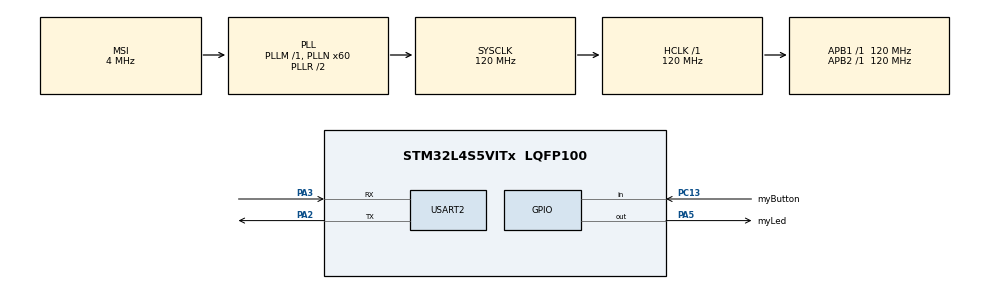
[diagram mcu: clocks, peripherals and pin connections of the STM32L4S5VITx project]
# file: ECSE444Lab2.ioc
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ADC1.Channel-0\#ChannelRegularConversion=ADC_CHANNEL_TEMPSENSOR
ADC1.NbrOfConversionFlag=1
ADC1.OffsetNumber-0\#ChannelRegularConversion=ADC_OFFSET_NONE
ADC1.Rank-0\#ChannelRegularConversion=1
ADC1.SamplingTime-0\#ChannelRegularConversion=ADC_SAMPLETIME_247CYCLES_5
ADC1.master=1
Mcu.Family=STM32L4
Mcu.Name=STM32L4S5VITx
Mcu.Package=LQFP100
NVIC.PriorityGroup=NVIC_PRIORITYGROUP_4
PA2.Mode=Asynchronous
PA2.Signal=USART2_TX
PA3.Mode=Asynchronous
PA3.Signal=USART2_RX
PA5.GPIO_Label=myLed
PA5.Signal=GPIO_Output
PC13.GPIO_Label=myButton
PC13.GPIO_PuPd=GPIO_PULLUP
PC13.Signal=GPIO_Input
ProjectManager.HeapSize=0x200
ProjectManager.StackSize=0x400
ProjectManager.TargetToolchain=STM32CubeIDE
RCC.ADCFreq_Value=48000000
RCC.AHBFreq_Value=120000000
RCC.APB1Freq_Value=120000000
RCC.APB1TimFreq_Value=120000000
RCC.APB2Freq_Value=120000000
RCC.APB2TimFreq_Value=120000000
RCC.CortexFreq_Value=120000000
RCC.HCLKFreq_Value=120000000
RCC.HSE_VALUE=8000000
RCC.HSI48_VALUE=48000000
RCC.HSI_VALUE=16000000
RCC.LSE_VALUE=32768
RCC.MSI_VALUE=4000000
RCC.PLLN=60
RCC.PLLSAI1N=24
RCC.SYSCLKFreq_VALUE=120000000
RCC.SYSCLKSource=RCC_SYSCLKSOURCE_PLLCLK
RCC.USBFreq_Value=48000000
RCC.VCOOutputFreq_Value=240000000
USART2.VirtualMode-Asynchronous=VM_ASYNC
VP_ADC1_TempSens_Input.Mode=IN-TempSens
VP_ADC1_Vref_Input.Mode=IN-Vrefint
board=B-L4S5I-IOT01A

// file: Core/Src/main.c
/* USER CODE BEGIN Header */
/**
 ******************************************************************************
 * @file           : main.c
 * @brief          : Main program body
 ******************************************************************************
 * @attention
 *
 * Copyright (c) 2024 STMicroelectronics.
 * All rights reserved.
 *
 * This software is licensed under terms that can be found in the LICENSE file
 * in the root directory of this software component.
 * If no LICENSE file comes with this software, it is provided AS-IS.
 *
 ******************************************************************************
 */
/* USER CODE END Header */
#include "main.h"

/* USER CODE BEGIN Includes */
#include <stdbool.h>
#include <stdio.h>
//#include "uart_printf.h"
/* USER CODE END Includes */

/* USER CODE BEGIN PTD */
//#define DBG_UART 1
/* USER CODE END PTD */

ADC_HandleTypeDef hadc1;

UART_HandleTypeDef huart2;

void SystemClock_Config(void);
static void MX_GPIO_Init(void);
static void MX_ADC1_Init(void);
static void MX_USART2_UART_Init(void);

/* USER CODE BEGIN 0 */
volatile uint32_t *addr = 0x1fff75aa;
volatile uint32_t *addr2 = 0x1fff75a8;
volatile uint32_t *addr3 = 0x1fff75ca;
bool status = 0;

uint16_t cal_v;
uint16_t cal1;
uint16_t cal2;
float ADC_val;

ADC_HandleTypeDef hadc1;
UART_HandleTypeDef huart2;

static void ADC_Select_VREFINT(void) {

	ADC_ChannelConfTypeDef sConfig = { 0 };
	sConfig.Channel = ADC_CHANNEL_VREFINT;
	sConfig.Rank = ADC_REGULAR_RANK_1;
	sConfig.SamplingTime = ADC_SAMPLETIME_640CYCLES_5;
	sConfig.SingleDiff = ADC_SINGLE_ENDED;
	sConfig.OffsetNumber = ADC_OFFSET_NONE;
	sConfig.Offset = 0;
	if (HAL_ADC_ConfigChannel(&hadc1, &sConfig) != HAL_OK) {
		Error_Handler();
	}
}

static void ADC_Select_TEMP(void) {
	ADC_ChannelConfTypeDef sConfig = { 0 };
	sConfig.Channel = ADC_CHANNEL_TEMPSENSOR;
	sConfig.Rank = ADC_REGULAR_RANK_1;
	sConfig.SamplingTime = ADC_SAMPLETIME_640CYCLES_5;
	sConfig.SingleDiff = ADC_SINGLE_ENDED;
	sConfig.OffsetNumber = ADC_OFFSET_NONE;
	sConfig.Offset = 0;
	if (HAL_ADC_ConfigChannel(&hadc1, &sConfig) != HAL_OK) {
		Error_Handler();
	}
}

float get_ADC_readings(bool status) {
	int raw, raw2;
	float v_index;
	ADC_Select_TEMP();
	HAL_ADC_Start(&hadc1);
	if (HAL_ADC_PollForConversion(&hadc1, HAL_MAX_DELAY) == HAL_OK)
	raw = HAL_ADC_GetValue(&hadc1);
	cal_v = *addr;
	cal1 = *addr2;
	cal2 = *addr3;

	HAL_ADC_Stop(&hadc1);
	HAL_Delay(10);

	ADC_Select_VREFINT();
	HAL_ADC_Start(&hadc1);
	if (HAL_ADC_PollForConversion(&hadc1, HAL_MAX_DELAY) == HAL_OK)
	raw2 = HAL_ADC_GetValue(&hadc1);

	HAL_ADC_Stop(&hadc1);
	HAL_Delay(10);

	//calculation and return
	v_index = 3.0 * cal_v / raw2;
	if(status)
		return v_index;
	else if(!status)
		return 100 * (raw * v_index/3.0 - cal1) / (cal2 - cal1) + 30;
}

void wait_push(){
	while(HAL_GPIO_ReadPin(myButton_GPIO_Port, myButton_Pin)){
		HAL_GPIO_WritePin(myLed_GPIO_Port, myLed_Pin, status);
		ADC_val = get_ADC_readings(status);
		//if wan to print through uart, enable following code
		//#if(DBG_UART) /* Send data with UART2 */
		//UART_Printf_Dbg("Temperature: ADC_val = %.2f℃\r\n", ADC_val);
		//#endif
	}
	status = !status;
	HAL_GPIO_WritePin(myLed_GPIO_Port, myLed_Pin, status);
}

void wait_release(){
	while(HAL_GPIO_ReadPin(myButton_GPIO_Port, myButton_Pin)==0){
			HAL_GPIO_WritePin(myLed_GPIO_Port, myLed_Pin, status);
		}
}

extern void UART_Printf_Dbg(const char* fmt, ...);
/* USER CODE END 0 */

int main(void)
{

  /* MCU Configuration--------------------------------------------------------*/

  /* Reset of all peripherals, Initializes the Flash interface and the Systick. */
  HAL_Init();

  /* Configure the system clock */
  SystemClock_Config();

  /* Initialize all configured peripherals */
  MX_GPIO_Init();
  MX_ADC1_Init();
  MX_USART2_UART_Init();
  /* USER CODE BEGIN 2 */
  HAL_ADCEx_Calibration_Start(&hadc1, ADC_SINGLE_ENDED);

  /* USER CODE END 2 */

  /* Infinite loop */
  /* USER CODE BEGIN WHILE */
  while(1){
	if (HAL_GPIO_ReadPin(myButton_GPIO_Port, myButton_Pin))//wait for push
		wait_push();
	else
		wait_release();
  }
    /* USER CODE END WHILE */

}

void SystemClock_Config(void)
{
  RCC_OscInitTypeDef RCC_OscInitStruct = {0};
  RCC_ClkInitTypeDef RCC_ClkInitStruct = {0};

  /** Configure the main internal regulator output voltage
  */
  if (HAL_PWREx_ControlVoltageScaling(PWR_REGULATOR_VOLTAGE_SCALE1_BOOST) != HAL_OK)
  {
    Error_Handler();
  }

  /** Initializes the RCC Oscillators according to the specified parameters
  * in the RCC_OscInitTypeDef structure.
  */
  RCC_OscInitStruct.OscillatorType = RCC_OSCILLATORTYPE_MSI;
  RCC_OscInitStruct.MSIState = RCC_MSI_ON;
  RCC_OscInitStruct.MSICalibrationValue = 0;
  RCC_OscInitStruct.MSIClockRange = RCC_MSIRANGE_6;
  RCC_OscInitStruct.PLL.PLLState = RCC_PLL_ON;
  RCC_OscInitStruct.PLL.PLLSource = RCC_PLLSOURCE_MSI;
  RCC_OscInitStruct.PLL.PLLM = 1;
  RCC_OscInitStruct.PLL.PLLN = 60;
  RCC_OscInitStruct.PLL.PLLP = RCC_PLLP_DIV2;
  RCC_OscInitStruct.PLL.PLLQ = RCC_PLLQ_DIV2;
  RCC_OscInitStruct.PLL.PLLR = RCC_PLLR_DIV2;
  if (HAL_RCC_OscConfig(&RCC_OscInitStruct) != HAL_OK)
  {
    Error_Handler();
  }

  /** Initializes the CPU, AHB and APB buses clocks
  */
  RCC_ClkInitStruct.ClockType = RCC_CLOCKTYPE_HCLK|RCC_CLOCKTYPE_SYSCLK
                              |RCC_CLOCKTYPE_PCLK1|RCC_CLOCKTYPE_PCLK2;
  RCC_ClkInitStruct.SYSCLKSource = RCC_SYSCLKSOURCE_PLLCLK;
  RCC_ClkInitStruct.AHBCLKDivider = RCC_SYSCLK_DIV1;
  RCC_ClkInitStruct.APB1CLKDivider = RCC_HCLK_DIV1;
  RCC_ClkInitStruct.APB2CLKDivider = RCC_HCLK_DIV1;

  if (HAL_RCC_ClockConfig(&RCC_ClkInitStruct, FLASH_LATENCY_5) != HAL_OK)
  {
    Error_Handler();
  }
}

static void MX_ADC1_Init(void)
{

  ADC_ChannelConfTypeDef sConfig = {0};

  /** Common config
  */
  hadc1.Instance = ADC1;
  hadc1.Init.ClockPrescaler = ADC_CLOCK_ASYNC_DIV1;
  hadc1.Init.Resolution = ADC_RESOLUTION_12B;
  hadc1.Init.DataAlign = ADC_DATAALIGN_RIGHT;
  hadc1.Init.ScanConvMode = ADC_SCAN_DISABLE;
  hadc1.Init.EOCSelection = ADC_EOC_SINGLE_CONV;
  hadc1.Init.LowPowerAutoWait = DISABLE;
  hadc1.Init.ContinuousConvMode = DISABLE;
  hadc1.Init.NbrOfConversion = 1;
  hadc1.Init.DiscontinuousConvMode = DISABLE;
  hadc1.Init.ExternalTrigConv = ADC_SOFTWARE_START;
  hadc1.Init.ExternalTrigConvEdge = ADC_EXTERNALTRIGCONVEDGE_NONE;
  hadc1.Init.DMAContinuousRequests = DISABLE;
  hadc1.Init.Overrun = ADC_OVR_DATA_PRESERVED;
  hadc1.Init.OversamplingMode = DISABLE;
  if (HAL_ADC_Init(&hadc1) != HAL_OK)
  {
    Error_Handler();
  }

  /** Configure Regular Channel
  */
  sConfig.Channel = ADC_CHANNEL_TEMPSENSOR;
  sConfig.Rank = ADC_REGULAR_RANK_1;
  sConfig.SamplingTime = ADC_SAMPLETIME_247CYCLES_5;
  sConfig.SingleDiff = ADC_SINGLE_ENDED;
  sConfig.OffsetNumber = ADC_OFFSET_NONE;
  sConfig.Offset = 0;
  if (HAL_ADC_ConfigChannel(&hadc1, &sConfig) != HAL_OK)
  {
    Error_Handler();
  }

}

static void MX_USART2_UART_Init(void)
{

  huart2.Instance = USART2;
  huart2.Init.BaudRate = 9600;
  huart2.Init.WordLength = UART_WORDLENGTH_8B;
  huart2.Init.StopBits = UART_STOPBITS_1;
  huart2.Init.Parity = UART_PARITY_NONE;
  huart2.Init.Mode = UART_MODE_TX_RX;
  huart2.Init.HwFlowCtl = UART_HWCONTROL_NONE;
  huart2.Init.OverSampling = UART_OVERSAMPLING_16;
  huart2.Init.OneBitSampling = UART_ONE_BIT_SAMPLE_DISABLE;
  huart2.Init.ClockPrescaler = UART_PRESCALER_DIV1;
  huart2.AdvancedInit.AdvFeatureInit = UART_ADVFEATURE_NO_INIT;
  if (HAL_UART_Init(&huart2) != HAL_OK)
  {
    Error_Handler();
  }
  if (HAL_UARTEx_SetTxFifoThreshold(&huart2, UART_TXFIFO_THRESHOLD_1_8) != HAL_OK)
  {
    Error_Handler();
  }
  if (HAL_UARTEx_SetRxFifoThreshold(&huart2, UART_RXFIFO_THRESHOLD_1_8) != HAL_OK)
  {
    Error_Handler();
  }
  if (HAL_UARTEx_DisableFifoMode(&huart2) != HAL_OK)
  {
    Error_Handler();
  }

}

static void MX_GPIO_Init(void)
{
  GPIO_InitTypeDef GPIO_InitStruct = {0};

  /* GPIO Ports Clock Enable */
  __HAL_RCC_GPIOC_CLK_ENABLE();
  __HAL_RCC_GPIOA_CLK_ENABLE();

  /*Configure GPIO pin Output Level */
  HAL_GPIO_WritePin(myLed_GPIO_Port, myLed_Pin, GPIO_PIN_RESET);

  /*Configure GPIO pin : myButton_Pin */
  GPIO_InitStruct.Pin = myButton_Pin;
  GPIO_InitStruct.Mode = GPIO_MODE_INPUT;
  GPIO_InitStruct.Pull = GPIO_PULLUP;
  HAL_GPIO_Init(myButton_GPIO_Port, &GPIO_InitStruct);

  /*Configure GPIO pin : myLed_Pin */
  GPIO_InitStruct.Pin = myLed_Pin;
  GPIO_InitStruct.Mode = GPIO_MODE_OUTPUT_PP;
  GPIO_InitStruct.Pull = GPIO_NOPULL;
  GPIO_InitStruct.Speed = GPIO_SPEED_FREQ_LOW;
  HAL_GPIO_Init(myLed_GPIO_Port, &GPIO_InitStruct);

}

void Error_Handler(void)
{
	__disable_irq();
	while (1) {
	}
}
